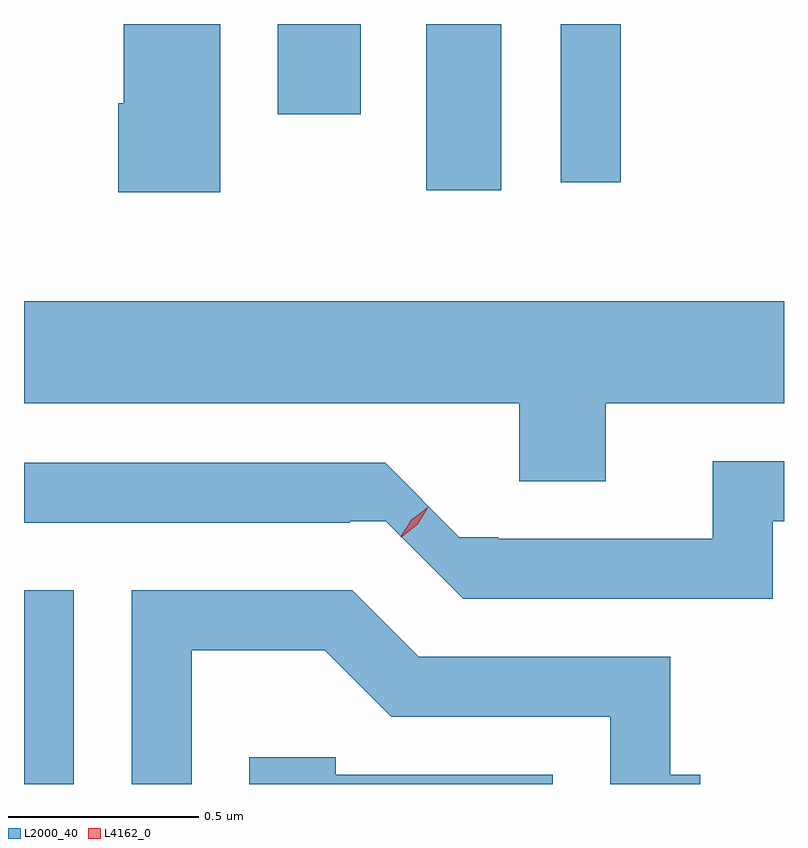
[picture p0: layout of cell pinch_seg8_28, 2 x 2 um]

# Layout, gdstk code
import gdstk
lib = gdstk.Library(unit=1e-6, precision=1e-09)
def R(c, l, rs):  # rectangles x0, y0, x1, y1
    for r in rs: c.add(gdstk.rectangle(r[:2], r[2:], *l))
def P(c, l, *ps):  # polygons
    for p in ps: c.add(gdstk.Polygon(p, *l))
L2000_40 = (2000, 40)
L4162_0 = (4162, 0)

pinch_seg8_28 = lib.new_cell('pinch_seg8_28')
R(pinch_seg8_28, L2000_40, [(856.558,1884.254,856.689,1884.764), (857.616,1885.816,857.814,1886.254), (857.971,1885.838,858.129,1886.254), (857.226,1886.016,857.444,1886.254)])
P(pinch_seg8_28, L2000_40, [(857.074,1886.254),(856.821,1886.254),(856.821,1886.045),(856.806,1886.045),(856.806,1885.811),(857.074,1885.811)],
  [(858.089,1885.256),(858.558,1885.256),(858.558,1885.524),(856.558,1885.524),(856.558,1885.256),(857.861,1885.256),(857.861,1885.051),(858.089,1885.051)],
  [(858.529,1884.946),(858.558,1884.946),(858.558,1885.104),(858.371,1885.104),(858.371,1884.899),(857.806,1884.899),(857.806,1884.903),(857.704,1884.903),(857.508,1885.099),(856.558,1885.099),(856.558,1884.941),(857.415,1884.941),(857.415,1884.945),(857.51,1884.945),(857.714,1884.741),(858.529,1884.741)],
  [(856.999,1884.606),(857.349,1884.606),(857.524,1884.431),(858.101,1884.431),(858.101,1884.254),(858.338,1884.254),(858.338,1884.279),(858.259,1884.279),(858.259,1884.589),(857.597,1884.589),(857.422,1884.764),(856.841,1884.764),(856.841,1884.254),(856.999,1884.254)],
  [(857.949,1884.279),(857.379,1884.279),(857.379,1884.324),(857.151,1884.324),(857.151,1884.254),(857.949,1884.254)])
P(pinch_seg8_28, L4162_0, [(857.55,1884.904),(857.55,1884.905),(857.578,1884.95),(857.621,1884.982),(857.622,1884.982),(857.622,1884.982),(857.593,1884.936),(857.551,1884.904)],
  [(857.552,1884.909),(857.552,1884.91),(857.578,1884.951),(857.618,1884.979),(857.619,1884.979),(857.619,1884.978),(857.592,1884.937),(857.553,1884.909)])

lib.write_gds('pinch_seg8_28.gds')
